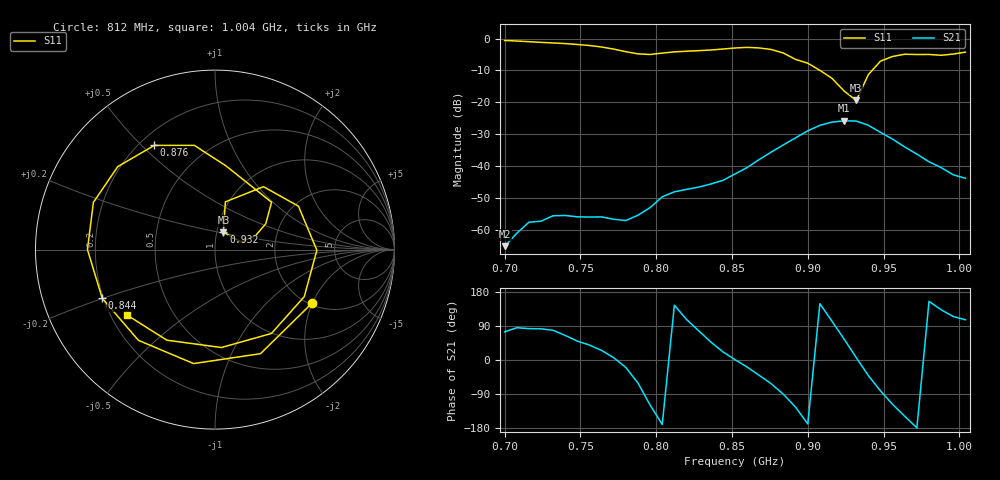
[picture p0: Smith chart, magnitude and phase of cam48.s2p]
# Hz S RI R 50
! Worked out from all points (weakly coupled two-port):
!   39 points, 700 MHz to 1.004 GHz, reference 50 ohm
!   highest |S21| = -25.76 dB at 924 MHz (marker M1); lowest = -65.0 dB at 700 MHz (marker M2)
!   lowest |S11| = -19.4 dB at 932 MHz (marker M3), VSWR 1.24, Z = 53.8 + j10.5 ohm
!   |S11| at or under -10 dB: 908.1 MHz to 942.5 MHz (34.33 MHz wide, 3.71 % of centre)
!   S12 and S22 are empty: the file has one direction only
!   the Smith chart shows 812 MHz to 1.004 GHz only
!   S11 on the Smith chart (normalised r, x): 812 MHz: 2.08, -1.99; 844 MHz: 0.20, -0.20; 876 MHz: 0.26, +0.55; 932 MHz: 1.08, +0.21; 1.004 GHz: 0.27, -0.31
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7e8  0.7666 0.5311  0.000152 0.000541  0 0  0 0
7.24e8  0.8304 -0.2619  0.000188 0.00137  0 0  0 0
7.4e8  0.4469 -0.7032  0.000723 0.00154  0 0  0 0
7.56e8  -0.1961 -0.7521  0.00124 0.00102  0 0  0 0
7.72e8  -0.6556 -0.1902  0.00147 0.000153  0 0  0 0
7.8e8  -0.5788 0.2277  0.00133 -0.000479  0 0  0 0
7.88e8  -0.2248 0.5294  0.000835 -0.0015  0 0  0 0
7.96e8  0.2541 0.5016  -0.00109 -0.00197  0 0  0 0
8.04e8  0.5715 0.1499  -0.00328 -0.00057  0 0  0 0
8.12e8  0.5423 -0.2965  -0.00325 0.00231  0 0  0 0
8.28e8  -0.1192 -0.635  0.00104 0.00461  0 0  0 0
8.44e8  -0.6285 -0.2708  0.0056 0.00221  0 0  0 0
8.52e8  -0.7107 0.00055  0.00758 0.000124  0 0  0 0
8.76e8  -0.3383 0.5807  0.0076 -0.0149  0 0  0 0
9e8  0.3152 0.2639  -0.0352 -0.00711  0 0  0 0
9.08e8  0.2831 0.1445  -0.0374 0.0228  0 0  0 0
9.24e8  0.1444 0.0427  0.0295 0.0422  0 0  0 0
9.32e8  0.0467 0.0968  0.0508 0.00562  0 0  0 0
9.4e8  0.0578 0.2661  0.0329 -0.0289  0 0  0 0
9.56e8  0.4649 0.2419  -0.0121 -0.0236  0 0  0 0
9.8e8  0.3144 -0.4673  -0.0106 0.00502  0 0  0 0
1.004e9  -0.4925 -0.3631  -0.00182 0.00624  0 0  0 0
